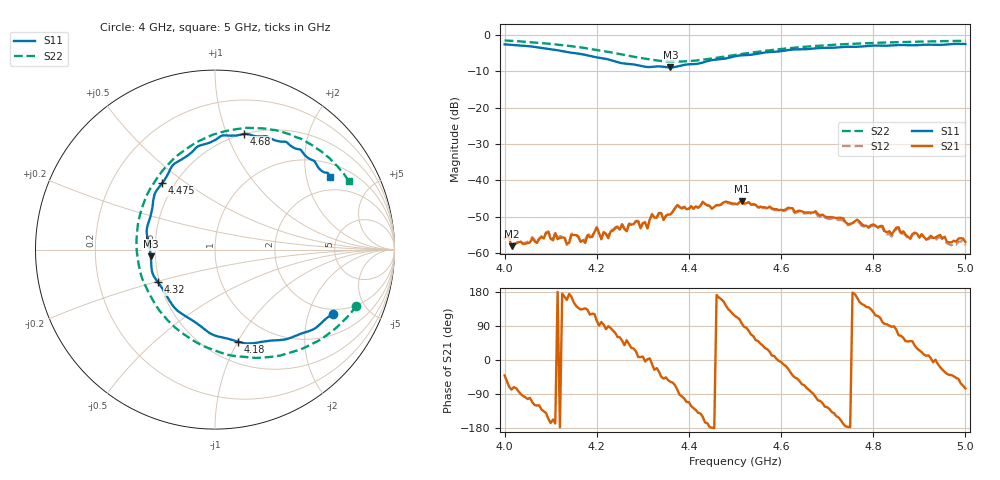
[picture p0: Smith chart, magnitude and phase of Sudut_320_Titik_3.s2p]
# Hz S RI R 50
! CMT, C1220, 16058040, 17.2.0/1
! Date: 15/08/2018 12:42:11
! Data: Format (Calibration Info)
! Freq  S11: Re/Im (F2)  S21: Re/Im (F2)  S12: Re/Im (F2)  S22: Re/Im (F2)
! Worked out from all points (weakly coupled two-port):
!   201 points, 4 GHz to 5 GHz, reference 50 ohm
!   highest |S21| = -45.78 dB at 4.515 GHz (marker M1); lowest = -58.2 dB at 4.015 GHz (marker M2)
!   lowest |S11| = -8.9 dB at 4.36 GHz (marker M3), VSWR 2.12, Z = 23.6 - j1.98 ohm
!   |S11| at or under -10 dB: nowhere
!   |S22| runs from -7.3 to -1.4 dB; largest |S21 - S12| = 0.00024
!   S11 on the Smith chart (normalised r, x): 4 GHz: 1.80, -2.92; 4.18 GHz: 0.70, -1.00; 4.32 GHz: 0.49, -0.20; 4.475 GHz: 0.43, +0.41; 4.68 GHz: 0.50, +1.15; 5 GHz: 1.45, +2.75
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4e9  0.6584 -0.3574  0.0012 -0.00104  0.00124 -0.00105  0.7874 -0.3121
4.015e9  0.6313 -0.3752  0.000254 -0.00121  0.000279 -0.00125  0.7622 -0.3469
4.095e9  0.4254 -0.4897  -0.00174 -0.000795  -0.00179 -0.000874  0.5726 -0.5096
4.135e9  0.2917 -0.5095  -0.00124 0.00049  -0.0012 0.000447  0.4402 -0.5674
4.145e9  0.252 -0.515  -0.00172 0.000402  -0.00179 0.000399  0.4027 -0.5793
4.17e9  0.1602 -0.5207  -0.00105 0.00107  -0.00111 0.00116  0.308 -0.5979
4.18e9  0.1273 -0.5126  -0.00119 0.0013  -0.00126 0.00136  0.2663 -0.6009
4.2e9  0.0537 -0.4922  -0.000518 0.00215  -0.000639 0.00219  0.1818 -0.6
4.225e9  -0.0339 -0.4623  1.8e-05 0.00159  1.14e-05 0.00168  0.0716 -0.586
4.285e9  -0.2346 -0.3125  0.00251 0.00106  0.00253 0.00111  -0.1852 -0.4634
4.31e9  -0.2925 -0.2178  0.00218 7.48e-05  0.00219 5.36e-05  -0.2759 -0.3796
4.32e9  -0.3192 -0.1807  0.00333 -0.000625  0.00338 -0.00063  -0.3093 -0.3405
4.335e9  -0.3487 -0.1306  0.00303 -0.00181  0.00304 -0.00184  -0.35 -0.275
4.36e9  -0.358 -0.0365  0.00181 -0.00286  0.0018 -0.00287  -0.4065 -0.1588
4.375e9  -0.3687 0.0339  0.000884 -0.00449  0.000841 -0.00461  -0.4255 -0.083
4.475e9  -0.2955 0.3697  -0.00448 0.00211  -0.00436 0.00226  -0.3391 0.3726
4.5e9  -0.2487 0.4487  -0.00211 0.00427  -0.00206 0.00422  -0.2799 0.4544
4.515e9  -0.227 0.4779  -0.000527 0.00512  -0.000475 0.00507  -0.2395 0.4973
4.67e9  0.1426 0.6398  5.02e-05 -0.00359  -3.18e-07 -0.00344  0.202 0.678
4.68e9  0.1611 0.6441  -0.000962 -0.00327  -0.00095 -0.00308  0.2287 0.6768
4.835e9  0.4467 0.5634  -1.72e-05 0.00199  -1.07e-05 0.00181  0.5483 0.5769
5e9  0.6389 0.405  0.000362 -0.00136  0.000358 -0.00122  0.7448 0.3847
